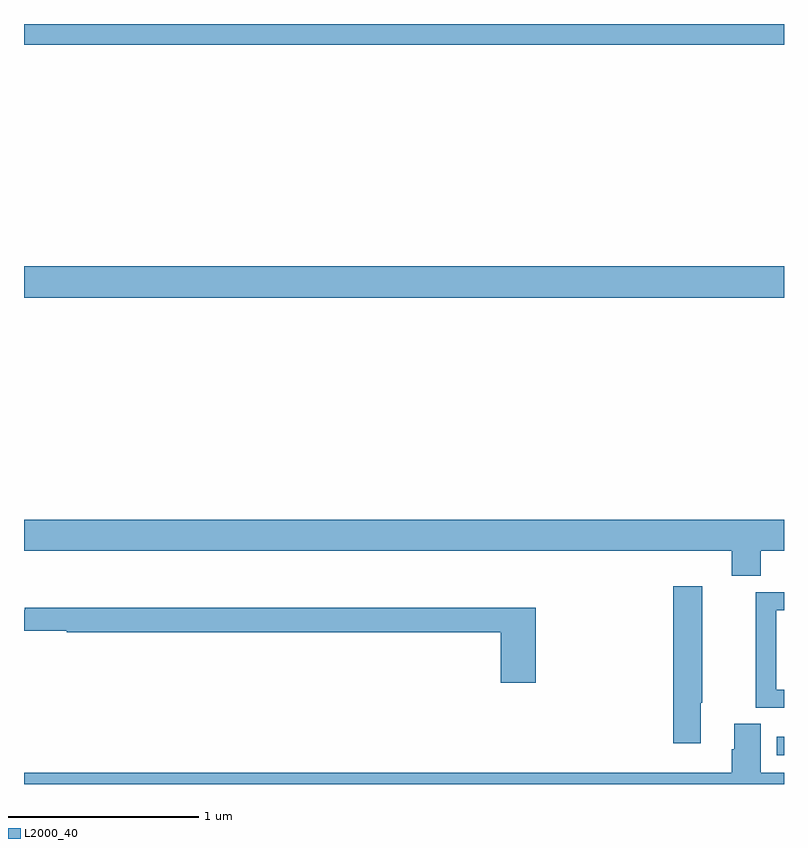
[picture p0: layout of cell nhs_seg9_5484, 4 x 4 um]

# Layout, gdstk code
import gdstk
lib = gdstk.Library(unit=1e-6, precision=1e-09)
def R(c, l, rs):  # rectangles x0, y0, x1, y1
    for r in rs: c.add(gdstk.rectangle(r[:2], r[2:], *l))
def P(c, l, *ps):  # polygons
    for p in ps: c.add(gdstk.Polygon(p, *l))
L2000_40 = (2000, 40)

nhs_seg9_5484 = lib.new_cell('nhs_seg9_5484')
R(nhs_seg9_5484, L2000_40, [(432.962,1220.652,433,1220.748), (429,1223.06,433,1223.224), (429,1224.392,433,1224.5)])
P(nhs_seg9_5484, L2000_40, [(432.877,1221.728),(433,1221.728),(433,1221.892),(429,1221.892),(429,1221.728),(432.725,1221.728),(432.725,1221.595),(432.877,1221.595)],
  [(432.562,1220.927),(432.57,1220.927),(432.57,1221.541),(432.416,1221.541),(432.416,1220.715),(432.562,1220.715)],
  [(433,1220.997),(432.96,1220.997),(432.96,1221.414),(433,1221.414),(433,1221.51),(432.852,1221.51),(432.852,1220.901),(433,1220.901)],
  [(431.693,1221.427),(429.004,1221.427),(429.004,1221.414),(429,1221.414),(429,1221.306),(429.226,1221.306),(429.226,1221.298),(431.51,1221.298),(431.51,1221.033),(431.693,1221.033)],
  [(433,1220.56),(432.877,1220.56),(432.877,1220.816),(432.737,1220.816),(432.737,1220.682),(432.725,1220.682),(432.725,1220.56),(429,1220.56),(429,1220.5),(433,1220.5)])

lib.write_gds('nhs_seg9_5484.gds')
